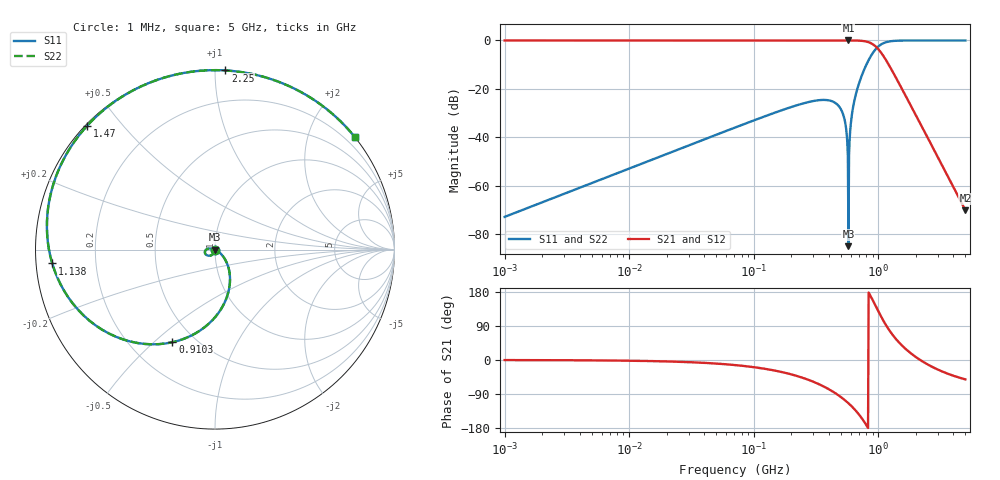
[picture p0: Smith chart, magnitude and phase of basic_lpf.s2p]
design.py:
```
#!/usr/bin/env python3
"""Generic 5th-order Butterworth LPF design: public example.

Synthesizes a textbook 5th-order Butterworth low-pass filter at 1 GHz,
substitutes Coilcraft 0402HP + Murata GJM C0G real parts, evaluates
against a generic spec, runs a 1000-trial Monte Carlo with 5%
tolerance, and renders the response.

Outputs (gitignored) land alongside this file:
  - basic_lpf.asc, basic_lpf.s2p, response.png, report.md
"""

from __future__ import annotations

import json
import math
from pathlib import Path

import numpy as np

from mcp_ltspice.asc_io import generate_lpf_asc
from mcp_ltspice.eval import FilterSpec, evaluate_filter_spec
from mcp_ltspice.extract import (
    components_dict_to_elements,
    ladder_sparams_from_components,
)
from mcp_ltspice.montecarlo import monte_carlo_analysis
from mcp_ltspice.render import render_response
from mcp_ltspice.synthesis import Topology, synthesize_lc_lpf
from mcp_ltspice.vendor_models import substitute_real_components
from rf_mcp_common.touchstone import network_to_touchstone

HERE = Path(__file__).parent
SPEC_PATH = HERE / "spec.json"


def _write_s2p(components: dict[str, float], path: Path) -> Path:
    f = np.geomspace(1e6, 5e9, 801)
    elements = components_dict_to_elements(components, topology="series_first")
    s = ladder_sparams_from_components(elements, f, z0=50.0)
    return network_to_touchstone(f, s, path, z0=50.0)


def _print_check(label: str, result) -> None:
    print(f"\n=== {label} ({result.overall.upper()}) ===")
    print(f"{'Criterion':<24} {'Target':>10} {'Measured':>12} {'Margin':>10} {'Status':>8}")
    for c in result.criteria:
        target = f"{c.target_db:.1f} dB"
        measured = f"{c.measured_db:.2f} dB" if math.isfinite(c.measured_db) else "n/a"
        margin = f"{c.margin_db:+.2f} dB" if math.isfinite(c.margin_db) else "n/a"
        print(f"{c.label:<24} {target:>10} {measured:>12} {margin:>10} {c.status:>8}")


def main() -> None:
    spec = FilterSpec.model_validate(json.loads(SPEC_PATH.read_text()))
    print("Spec loaded:", SPEC_PATH.name)

    # 1. Synthesize prototype
    print("\n[1] Synthesizing 5th-order Butterworth LPF (fc=1 GHz)")
    design = synthesize_lc_lpf(
        "butterworth",
        order=5,
        cutoff_hz=1.0e9,
        z0=50.0,
        topology=Topology.SERIES_FIRST,
    )
    for ref, val in sorted(design.components.items()):
        print(f"   {ref}: {val:.3e}")

    # 2. Substitute vendor parts
    print("\n[2] Substituting Coilcraft 0402HP + Murata GJM C0G")
    parts = substitute_real_components(design.components)
    real_comps = {ref: info["snapped_value"] for ref, info in parts.items()}
    for ref, info in sorted(parts.items()):
        delta = (info["snapped_value"] - info["ideal_value"]) / info["ideal_value"] * 100
        print(
            f"   {ref}: ideal {info['ideal_value']:.3e} -> {info['snapped_value']:.3e} ({delta:+.1f}%)"
        )

    final_s2p = _write_s2p(real_comps, HERE / "basic_lpf.s2p")
    asc = generate_lpf_asc(real_comps, HERE / "basic_lpf.asc")
    print(f"   --> {final_s2p.name}, {asc.name}")

    # 3. Evaluate
    check = evaluate_filter_spec(final_s2p, spec)
    _print_check("Spec compliance", check)

    # 4. Render
    png = render_response(
        final_s2p,
        HERE / "response.png",
        markers=[
            (1e9, "fc"),
            (2e9, "2x fc"),
            (3e9, "3x fc"),
            (5e9, "5x fc"),
        ],
        title="Generic 5th-order Butterworth LPF -- mcp-ltspice demo",
    )
    print(f"\n[3] Response plot: {png.name}")

    # 5. Monte Carlo
    print("\n[4] Monte Carlo yield (5% tolerance, 1000 runs)")
    mc = monte_carlo_analysis(
        real_comps,
        spec,
        tolerance_pct=5.0,
        n_runs=1000,
        transmission_zeros=False,
        n_jobs=-1,
    )
    print(f"   yield: {mc.yield_pct:.1f}% ({mc.n_passing}/{mc.n_runs})")

    print(f"\n{'=' * 50}")
    print(f"VERDICT: {check.overall.upper()}  |  MC yield: {mc.yield_pct:.1f}%")
    print(f"{'=' * 50}")


if __name__ == "__main__":
    main()
```
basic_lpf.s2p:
! Created with skrf 1.11.0 (http://scikit-rf.org).
# Hz S RI R 50.0
!freq ReS11 ImS11 ReS21 ImS21 ReS12 ImS12 ReS22 ImS22
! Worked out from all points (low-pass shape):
!   801 points, 1 MHz to 5 GHz, reference 50 ohm
!   highest |S21| = 0.00 dB at 575.9 MHz (marker M1); lowest = -70.2 dB at 5 GHz (marker M2)
!   |S21| within 3 dB of the highest: start of sweep to 975.3 MHz
!   lowest |S11| = -85.0 dB at 575.9 MHz (marker M3), VSWR 1.00, Z = 50 - j0.0023 ohm
!   |S11| at or under -10 dB: start of sweep to 801.7 MHz
!   |S22| runs from -85.0 to 0.0 dB; largest |S21 - S12| = 0
!   S11 on the Smith chart (normalised r, x): 1 MHz: 1.00, -0.00; 910.3 MHz: 0.38, -0.57; 1.138 GHz: 0.05, -0.04; 1.47 GHz: 0.00, +0.40; 2.25 GHz: 0.00, +1.06; 5 GHz: 0.00, +2.84
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1000000  -7.45e-07 -0.000226  1 -0.00329  1 -0.00329  -7.45e-07 -0.000226
7.071068e7  -0.00366 -0.0154  0.9729 -0.2308  0.9729 -0.2308  -0.00366 -0.0154
4.010053e8  -0.0564 -0.0128  0.2209 -0.9736  0.2209 -0.9736  -0.0564 -0.0128
5.12266e8  -0.0331 0.00599  -0.1781 -0.9834  -0.1781 -0.9834  -0.0331 0.00599
5.759123e8  5.12e-05 -2.3e-05  -0.4101 -0.912  -0.4101 -0.912  5.12e-05 -2.3e-05
6.614007e8  0.0563 -0.0549  -0.696 -0.7137  -0.696 -0.7137  0.0563 -0.0549
9.102821e8  -0.2372 -0.5161  -0.7478 0.3438  -0.7478 0.3438  -0.2372 -0.5161
1.138345e9  -0.9068 -0.077  -0.0351 0.4129  -0.0351 0.4129  -0.9068 -0.077
1.469749e9  -0.7129 0.6895  0.0891 0.0921  0.0891 0.0921  -0.7129 0.6895
2.250047e9  0.0573 0.9982  0.0161 -0.000923  0.0161 -0.000923  0.0573 0.9982
5e9  0.7791 0.6269  0.000195 -0.000242  0.000195 -0.000242  0.7791 0.6269
